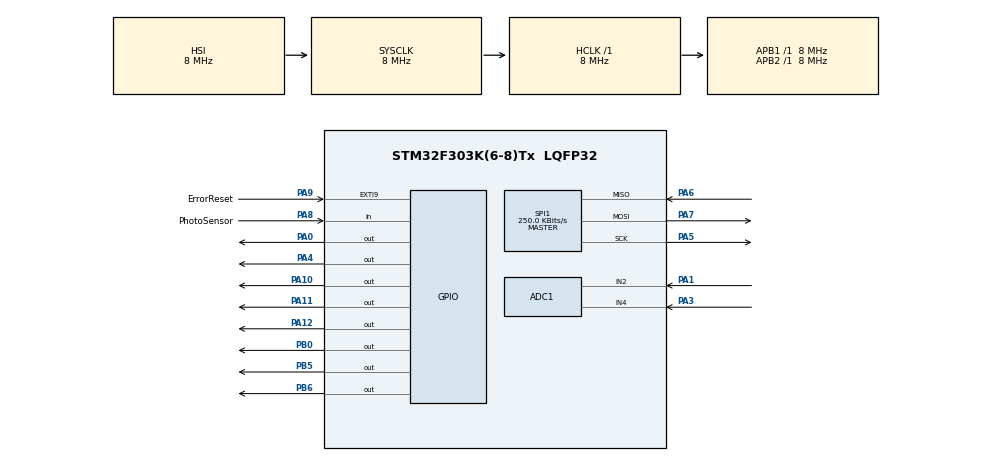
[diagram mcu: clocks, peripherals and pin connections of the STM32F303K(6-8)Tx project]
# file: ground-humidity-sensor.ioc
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ADC1.Channel-1\#ChannelRegularConversion=ADC_CHANNEL_2
ADC1.ContinuousConvMode=DISABLE
ADC1.NbrOfConversionFlag=1
ADC1.Offset-1\#ChannelRegularConversion=0
ADC1.OffsetNumber-1\#ChannelRegularConversion=ADC_OFFSET_NONE
ADC1.Rank-1\#ChannelRegularConversion=1
ADC1.SamplingTime-1\#ChannelRegularConversion=ADC_SAMPLETIME_1CYCLE_5
ADC1.SubFamily=STM32F303x8
ADC1.master=1
Mcu.Family=STM32F3
Mcu.Name=STM32F303K(6-8)Tx
Mcu.Package=LQFP32
NVIC.EXTI9_5_IRQn=true\:0\:0\:false\:false\:true\:true\:true\:true
NVIC.PriorityGroup=NVIC_PRIORITYGROUP_4
NVIC.RTC_WKUP_IRQn=true\:0\:0\:false\:false\:true\:true\:true\:true
PA0.Signal=GPIO_Output
PA1.Signal=SharedAnalog_PA1
PA10.Signal=GPIO_Output
PA11.Signal=GPIO_Output
PA12.Signal=GPIO_Output
PA3.Mode=IN4-Single-Ended
PA3.Signal=ADC1_IN4
PA4.Signal=GPIO_Output
PA5.Mode=Full_Duplex_Master
PA5.Signal=SPI1_SCK
PA6.Mode=Full_Duplex_Master
PA6.Signal=SPI1_MISO
PA7.Mode=Full_Duplex_Master
PA7.Signal=SPI1_MOSI
PA8.GPIO_Label=PhotoSensor
PA8.GPIO_PuPd=GPIO_PULLDOWN
PA8.Signal=GPIO_Input
PA9.GPIO_Label=ErrorReset
PA9.GPIO_PuPd=GPIO_PULLDOWN
PA9.Signal=GPXTI9
PB0.Signal=GPIO_Output
PB5.Signal=GPIO_Output
PB6.Signal=GPIO_Output
PF0\ /\ OSC_IN.Mode=HSE-External-Oscillator
PF0\ /\ OSC_IN.Signal=RCC_OSC_IN
PF1\ /\ OSC_OUT.Mode=HSE-External-Oscillator
PF1\ /\ OSC_OUT.Signal=RCC_OSC_OUT
ProjectManager.HeapSize=0x200
ProjectManager.StackSize=0x400
ProjectManager.TargetToolchain=STM32CubeIDE
RCC.AHBFreq_Value=8000000
RCC.APB1Freq_Value=8000000
RCC.APB2Freq_Value=8000000
RCC.CortexFreq_Value=8000000
RCC.HSE_VALUE=8000000
RCC.HSI_VALUE=8000000
RCC.PLLMUL=RCC_PLL_MUL4
RCC.SYSCLKFreq_VALUE=8000000
SH.SharedAnalog_PA1.0=GPIO_Analog
SH.SharedAnalog_PA1.1=ADC1_IN2,IN2-Single-Ended
SPI1.BaudRatePrescaler=SPI_BAUDRATEPRESCALER_32
SPI1.CalculateBaudRate=250.0 KBits/s
SPI1.DataSize=SPI_DATASIZE_8BIT
SPI1.Direction=SPI_DIRECTION_2LINES
SPI1.Mode=SPI_MODE_MASTER
SPI1.NSSPMode=SPI_NSS_PULSE_DISABLE
SPI1.VirtualType=VM_MASTER
VP_RTC_VS_RTC_Activate.Mode=RTC_Enabled
VP_RTC_VS_RTC_WakeUp_intern.Mode=WakeUp
board=custom

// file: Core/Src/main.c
/* USER CODE BEGIN Header */
/**
  ******************************************************************************
  * @file           : main.c
  * @brief          : Main program body
  ******************************************************************************
  * @attention
  *
  * Copyright (c) 2024 STMicroelectronics.
  * All rights reserved.
  *
  * This software is licensed under terms that can be found in the LICENSE file
  * in the root directory of this software component.
  * If no LICENSE file comes with this software, it is provided AS-IS.
  *
  ******************************************************************************
  */
/* USER CODE END Header */
#include "main.h"
#include "adc.h"
#include "rtc.h"
#include "spi.h"
#include "gpio.h"

/* USER CODE BEGIN Includes */
#include "lcd.h"
#include "soil_moisture_sensor.h"
#include "hw-038.h"
#include "pump.h"
#include "led.h"
#include <stdlib.h>
#include <stdio.h>
#include <string.h>
/* USER CODE END Includes */

/* USER CODE BEGIN PV */
float soil_moisture;
float water_height;
uint8_t rx_data = 0;
uint8_t soil[50];
uint8_t water[50];
const uint8_t MOIST_Y = 2;
const uint8_t LEVEL_Y = 3;
const uint8_t ERROR_Y = 15;
static uint8_t lastState = 0;
static uint8_t stableSamples = UINT32_MAX;
static uint8_t errorState = 0;
static uint8_t watering = 0;
/* USER CODE END PV */

void SystemClock_Config(void);
/* USER CODE BEGIN PFP */
enum EDGE_TYPE edgeDetect(const register ubyte pinState, const register uint samples) {
    if (pinState != lastState) {
        stableSamples = 1;
        lastState = pinState;
    } else if(stableSamples <= samples){
        stableSamples++;
        if (stableSamples == samples) {
            switch(pinState) {
                case 0: return FALL;
                case 1: return RISE;
                default: return NONE;
            }
        }
    }
    return NONE;
}
/* USER CODE END PFP */

int main(void)
{

  /* USER CODE BEGIN 1 */
//	__HAL_RCC_SYSCFG_CLK_ENABLE();
  /* USER CODE END 1 */

  /* MCU Configuration--------------------------------------------------------*/

  /* Reset of all peripherals, Initializes the Flash interface and the Systick. */
  HAL_Init();

  /* Configure the system clock */
  SystemClock_Config();

  /* Initialize all configured peripherals */
  MX_GPIO_Init();
  MX_ADC1_Init();
  MX_SPI1_Init();
  MX_RTC_Init();
  /* USER CODE BEGIN 2 */
  const uint16_t WHITE = decodeRgbValue(255, 255, 255);
  const uint16_t BLACK = decodeRgbValue(0, 0, 0);
  const uint16_t GREEN = decodeRgbValue(15, 250, 15);
  const uint16_t BLUE = decodeRgbValue(65, 50, 250);
  const uint16_t RED = decodeRgbValue(250, 0, 0);

  // Init LCD display
  lcdInitialise(LCD_ORIENTATION3);
//  char *buf = "Test of the lcd display and this should be a very long text...";
//  uint16_t Xoffset = lcdTextX(strlen(buf) + 1) + 2;
//  uint16_t Yoffset = lcdTextY(2);
//  lcdPutSWithCursor(buf, lcdTextX(1), lcdTextY(3), WHITE, BLACK, 10);

  // Init sensors
  SoilMoistureSensor_Init(GPIOA, GPIO_PIN_0, &hadc1, ADC_CHANNEL_2);
  Hw_Init(GPIOA, GPIO_PIN_12, &hadc1, ADC_CHANNEL_4);

  Pump_Init();

  ledInit(PhotoSensor_GPIO_Port, PhotoSensor_Pin, GPIOA, GPIO_PIN_11);

  if(__HAL_PWR_GET_FLAG(PWR_FLAG_SB) != RESET) {
	  __HAL_PWR_CLEAR_FLAG(PWR_FLAG_SB); // clear the flag
	  HAL_RTCEx_DeactivateWakeUpTimer(&hrtc); // Deactive the RTC wakeup

	  lcdPutSWithCursor("System woken up.", lcdTextX(1), lcdTextY(0), WHITE, BLACK, 5);
  }
  else {
	  lcdPutSWithCursor("System initialized.", lcdTextX(1), lcdTextY(0), WHITE, BLACK, 1);
  }

  /* USER CODE END 2 */

  /* Infinite loop */
  /* USER CODE BEGIN WHILE */

  while (1)
  {
	  soil_moisture = SoilMoistureSensor_GetCalibratedResult();
	  water_height = Hw_GetCalibratedResult();

	  if(water_height < 20) {
		  errorState = 1;
		  if(watering) {
			  Pump_Off();
			  watering = 0;
		  }
	  }

	  lcdPutSWithCursor(soil, lcdTextX(1), lcdTextY(MOIST_Y), BLACK, BLACK, 0);
	  lcdPutSWithCursor(water, lcdTextX(1), lcdTextY(LEVEL_Y), BLACK, BLACK, 0);

	  LL_mDelay(100);

	  memset(soil, 0, strlen(soil));
	  memset(water, 0, strlen(water));

	  sprintf(soil, "MOIST: %.2f%%", soil_moisture);
	  sprintf(water, "LEVEL: %.2f", water_height);

	  lcdPutSWithCursor(soil, lcdTextX(1), lcdTextY(MOIST_Y), BLUE, BLACK, 0);
	  lcdPutSWithCursor(water, lcdTextX(1), lcdTextY(LEVEL_Y), BLUE, BLACK, 0);

	  if (errorState) {
		  HAL_GPIO_WritePin(GPIOA, GPIO_PIN_10, SET);
		  lcdPutSWithCursor("Error: No water!", lcdTextX(1), lcdTextY(ERROR_Y), RED, BLACK, 0);
		  Pump_Off();
		  watering = 0;
	  }
	  else {
		  if(watering){
			  if(soil_moisture > 60) {
				  watering = 0;
				  Pump_Off();
			  }
		  }
		  else if(soil_moisture < 50){
			  lcdPutSWithCursor("Status: Watering!", lcdTextX(1), lcdTextY(ERROR_Y - 1), BLUE, BLACK, 0);
			  watering = 1;
			  Pump_On();
		  }
		  else {
			  lcdPutSWithCursor("Status: Watering!", lcdTextX(1), lcdTextY(ERROR_Y - 1), BLACK, BLACK, 0);
			  break;
		  }
		  HAL_GPIO_WritePin(GPIOA, GPIO_PIN_10, RESET);
		  lcdPutSWithCursor("Status: Running!", lcdTextX(1), lcdTextY(ERROR_Y), GREEN, BLACK, 0);
	  }

	  // FIXME: Better to read the analog value and compare, rather than a 0, or a 1 as it may lead to an unexpected behavior.
	  if(ledIsLight() == 1) {
		  ledOff();
	  }
	  else {
		  ledOn();
	  }

//	  ledToggle();

	  LL_mDelay(2000);
    /* USER CODE END WHILE */

    /* USER CODE BEGIN 3 */
  }
	__HAL_RTC_WAKEUPTIMER_CLEAR_FLAG(&hrtc, RTC_FLAG_WUTF);
	__HAL_PWR_CLEAR_FLAG(PWR_FLAG_WU);
	__HAL_GPIO_EXTI_CLEAR_IT(GPIO_PIN_RESET); // Clear EXTI line if applicable
	HAL_NVIC_ClearPendingIRQ(EXTI9_5_IRQn);
	HAL_NVIC_ClearPendingIRQ(RCC_IRQn);
	HAL_PWR_DisableWakeUpPin(PWR_WAKEUP_PIN1);
	HAL_PWR_DisableWakeUpPin(PWR_WAKEUP_PIN2);
	// RTC_WAKEUPCLOCK_RTCCLK_DIV = 16
	// WTB = 16 / (40 kHz) = 0.0004; // 0.000002
	// WUC = ~5/WTB = 12500 = 0x30D4 // 2500000 = 0x2625A0
	if (HAL_RTCEx_SetWakeUpTimer_IT(&hrtc, 0x3A98, 16) != HAL_OK)
	{
		Error_Handler();
	}

  HAL_PWR_EnterSTANDBYMode();
  /* USER CODE END 3 */
}

void SystemClock_Config(void)
{
  RCC_OscInitTypeDef RCC_OscInitStruct = {0};
  RCC_ClkInitTypeDef RCC_ClkInitStruct = {0};
  RCC_PeriphCLKInitTypeDef PeriphClkInit = {0};

  /** Initializes the RCC Oscillators according to the specified parameters
  * in the RCC_OscInitTypeDef structure.
  */
  RCC_OscInitStruct.OscillatorType = RCC_OSCILLATORTYPE_HSI|RCC_OSCILLATORTYPE_LSI;
  RCC_OscInitStruct.HSIState = RCC_HSI_ON;
  RCC_OscInitStruct.HSICalibrationValue = RCC_HSICALIBRATION_DEFAULT;
  RCC_OscInitStruct.LSIState = RCC_LSI_ON;
  RCC_OscInitStruct.PLL.PLLState = RCC_PLL_ON;
  RCC_OscInitStruct.PLL.PLLSource = RCC_PLLSOURCE_HSI;
  RCC_OscInitStruct.PLL.PLLMUL = RCC_PLL_MUL4;
  if (HAL_RCC_OscConfig(&RCC_OscInitStruct) != HAL_OK)
  {
    Error_Handler();
  }

  /** Initializes the CPU, AHB and APB buses clocks
  */
  RCC_ClkInitStruct.ClockType = RCC_CLOCKTYPE_HCLK|RCC_CLOCKTYPE_SYSCLK
                              |RCC_CLOCKTYPE_PCLK1|RCC_CLOCKTYPE_PCLK2;
  RCC_ClkInitStruct.SYSCLKSource = RCC_SYSCLKSOURCE_HSI;
  RCC_ClkInitStruct.AHBCLKDivider = RCC_SYSCLK_DIV1;
  RCC_ClkInitStruct.APB1CLKDivider = RCC_HCLK_DIV1;
  RCC_ClkInitStruct.APB2CLKDivider = RCC_HCLK_DIV1;

  if (HAL_RCC_ClockConfig(&RCC_ClkInitStruct, FLASH_LATENCY_0) != HAL_OK)
  {
    Error_Handler();
  }
  PeriphClkInit.PeriphClockSelection = RCC_PERIPHCLK_RTC|RCC_PERIPHCLK_ADC12;
  PeriphClkInit.Adc12ClockSelection = RCC_ADC12PLLCLK_DIV1;
  PeriphClkInit.RTCClockSelection = RCC_RTCCLKSOURCE_LSI;
  if (HAL_RCCEx_PeriphCLKConfig(&PeriphClkInit) != HAL_OK)
  {
    Error_Handler();
  }
}

/* USER CODE BEGIN 4 */
void HAL_GPIO_EXTI_Callback(uint16_t GPIO_Pin){
	if (GPIO_Pin == ErrorReset_Pin && edgeDetect(HAL_GPIO_ReadPin(ErrorReset_GPIO_Port, ErrorReset_Pin), 20) != RISE)
	{
		errorState = !errorState;

		stableSamples = 1;
	}
}
/* USER CODE END 4 */

void Error_Handler(void)
{
  __disable_irq();
      while (1) {
      }
}
